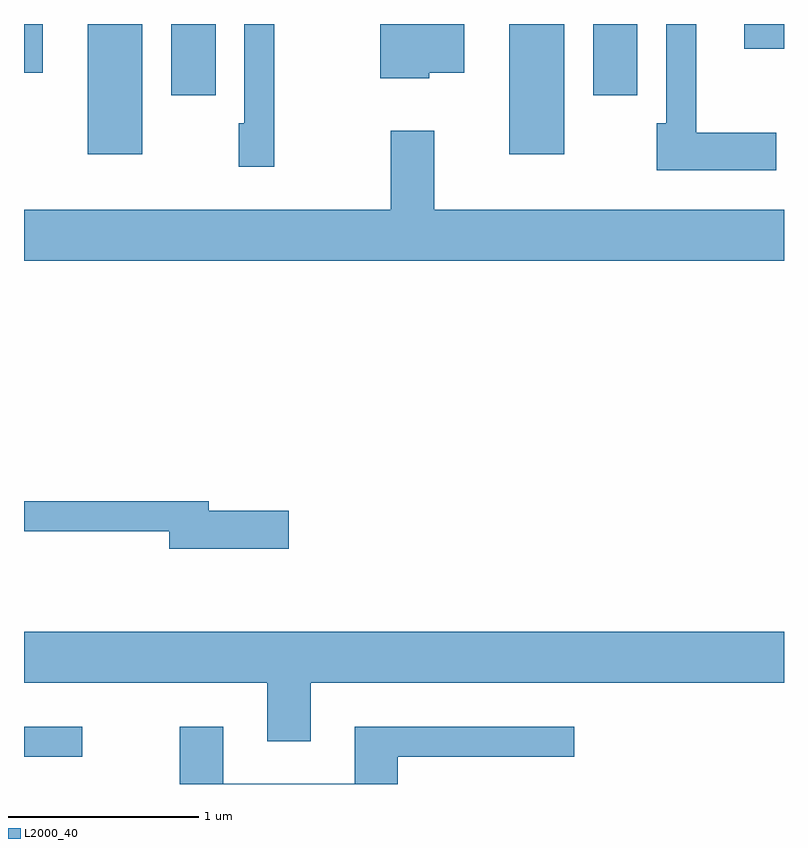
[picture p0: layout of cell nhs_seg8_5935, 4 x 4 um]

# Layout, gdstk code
import gdstk
lib = gdstk.Library(unit=1e-6, precision=1e-09)
def R(c, l, rs):  # rectangles x0, y0, x1, y1
    for r in rs: c.add(gdstk.rectangle(r[:2], r[2:], *l))
def P(c, l, *ps):  # polygons
    for p in ps: c.add(gdstk.Polygon(p, *l))
L2000_40 = (2000, 40)

nhs_seg8_5935 = lib.new_cell('nhs_seg8_5935')
R(nhs_seg8_5935, L2000_40, [(363.611,1820.486,363.918,1820.644), (363.946,1823.656,364.234,1824.342), (366.166,1823.656,366.454,1824.342), (364.386,1823.966,364.619,1824.342), (366.606,1823.966,366.839,1824.342), (363.611,1824.086,363.709,1824.342), (367.401,1824.211,367.611,1824.342)])
P(nhs_seg8_5935, L2000_40, [(367.569,1823.769),(367.149,1823.769),(367.149,1824.342),(366.991,1824.342),(366.991,1823.819),(366.941,1823.819),(366.941,1823.571),(367.569,1823.571)],
  [(364.929,1824.342),(364.771,1824.342),(364.771,1823.819),(364.741,1823.819),(364.741,1823.591),(364.929,1823.591)],
  [(365.744,1824.086),(365.929,1824.086),(365.929,1824.342),(365.486,1824.342),(365.486,1824.056),(365.744,1824.056)],
  [(367.611,1823.364),(365.769,1823.364),(365.769,1823.779),(365.541,1823.779),(365.541,1823.364),(363.611,1823.364),(363.611,1823.096),(367.611,1823.096)],
  [(365.004,1821.779),(364.584,1821.779),(364.584,1821.829),(363.611,1821.829),(363.611,1821.671),(364.376,1821.671),(364.376,1821.581),(365.004,1821.581)],
  [(365.119,1820.876),(367.611,1820.876),(367.611,1821.144),(363.611,1821.144),(363.611,1820.876),(364.891,1820.876),(364.891,1820.566),(365.119,1820.566)],
  [(365.579,1820.486),(366.508,1820.486),(366.508,1820.644),(365.351,1820.644),(365.351,1820.344),(364.659,1820.344),(364.659,1820.644),(364.431,1820.644),(364.431,1820.342),(365.579,1820.342)])

lib.write_gds('nhs_seg8_5935.gds')
